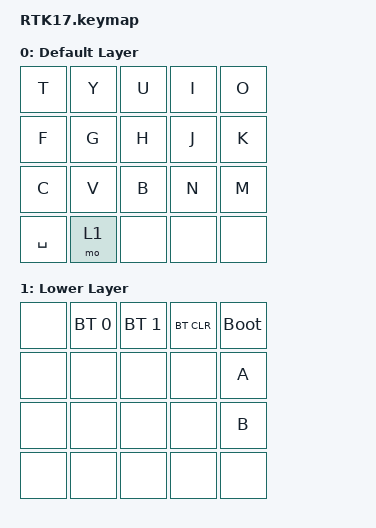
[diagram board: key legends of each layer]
/*
 * Copyright (c) 2021 The ZMK Contributors
 *
 * SPDX-License-Identifier: MIT
 */

#include <behaviors.dtsi>
#include <dt-bindings/zmk/keys.h>
#include <dt-bindings/zmk/bt.h>
#include <dt-bindings/zmk/outputs.h>

/ {
    keymap {
        compatible = "zmk,keymap";

        default_layer {
            display-name = "Default Layer";
            bindings = <
&kp T       &kp Y     &kp U     &kp I     &kp O  
&kp F       &kp G     &kp H     &kp J     &kp K   
&kp C       &kp V     &kp B     &kp N     &kp M   
&kp SPACE   &mo 1     &none     &none     &none 
            >;
        };
        lower_layer {
            display-name = "Lower Layer";
            bindings = <
&none     &bt BT_SEL 0   &bt BT_SEL 1   &bt BT_CLR  &bootloader
&none     &none     &none          &none            &kp A
&none     &none     &none          &none            &kp B  
&none     &none     &none          &none            &none 
            >;
        };
    };
};
